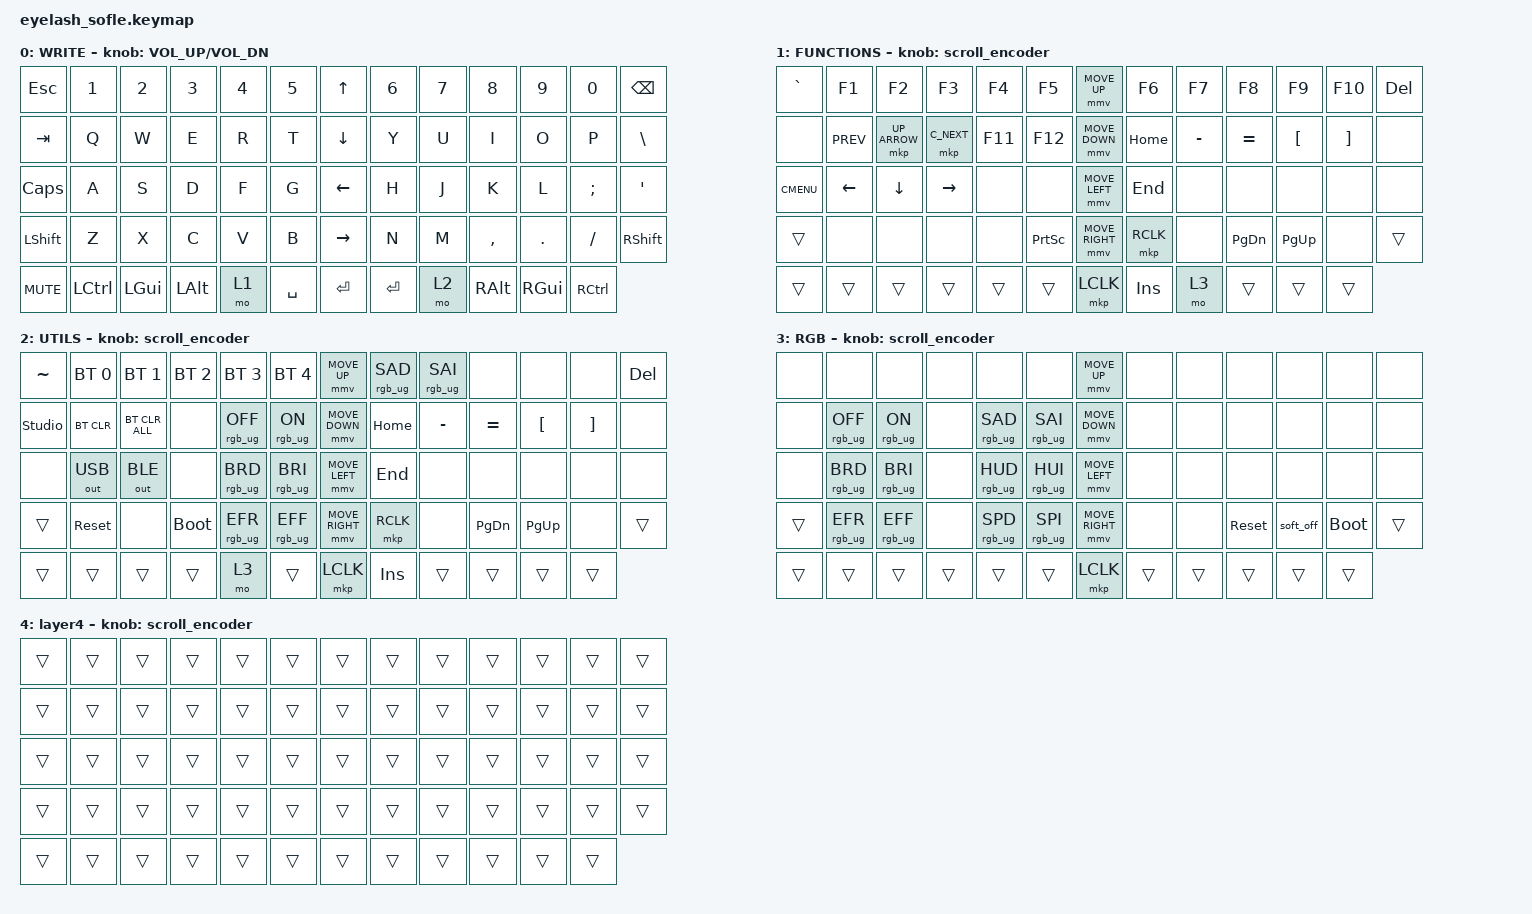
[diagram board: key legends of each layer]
#define ZMK_POINTING_DEFAULT_MOVE_VAL 1200  // 600
#define ZMK_POINTING_DEFAULT_SCRL_VAL 25   // 10

#include <input/processors.dtsi>
#include <zephyr/dt-bindings/input/input-event-codes.h>
#include <behaviors.dtsi>
#include <dt-bindings/zmk/bt.h>
#include <dt-bindings/zmk/keys.h>
#include <dt-bindings/zmk/outputs.h>
#include <dt-bindings/zmk/pointing.h>
#include <dt-bindings/zmk/rgb.h>

&mmv_input_listener { input-processors = <&zip_xy_scaler 2 1>; };

&msc_input_listener { input-processors = <&zip_scroll_scaler 2 1>; };

&msc {
    acceleration-exponent = <1>;      // 0
    time-to-max-speed-ms = <100>;       // 300
    delay-ms = <0>;                   // 0
};

&mmv {
    time-to-max-speed-ms = <500>;
    acceleration-exponent = <1>;
    trigger-period-ms = <16>;
};

&soft_off { hold-time-ms = <2000>; };

/ {
    scroll_encoder: scroll_encoder {
        compatible = "zmk,behavior-sensor-rotate";
        #sensor-binding-cells = <0>;
        bindings = <&msc SCRL_DOWN>, <&msc SCRL_UP>;

        tap-ms = <100>;
    };

    behaviors {
    };

    combos {
        compatible = "zmk,combos";

        softoff {
            bindings = <&soft_off>;
            key-positions = <14 28 40>;
        };
    };

    keymap {
        compatible = "zmk,keymap";

        layer0 {
            bindings = <
&kp ESC         &kp N1         &kp N2          &kp N3           &kp N4          &kp N5            &kp UP_ARROW           &kp N6           &kp N7         &kp N8         &kp N9           &kp N0          &kp BACKSPACE
&kp TAB         &kp Q          &kp W           &kp E            &kp R           &kp T             &kp DOWN_ARROW         &kp Y            &kp U          &kp I          &kp O            &kp P           &kp BSLH
&kp CAPS        &kp A          &kp S           &kp D            &kp F           &kp G             &kp LEFT_ARROW         &kp H            &kp J          &kp K          &kp L            &kp SEMI        &kp APOS
&kp LSHFT       &kp Z          &kp X           &kp C            &kp V           &kp B             &kp RIGHT_ARROW        &kp N            &kp M          &kp COMMA      &kp DOT          &kp FSLH        &kp RSHIFT
&kp C_MUTE      &kp LCTRL      &kp LEFT_GUI    &kp LEFT_ALT     &mo 1           &kp SPACE         &kp ENTER              &kp ENTER        &mo 2          &kp RALT       &kp RIGHT_GUI    &kp RCTRL
            >;

            sensor-bindings = <&inc_dec_kp C_VOLUME_UP C_VOL_DN>;
            display-name = "WRITE";
        };

        layer_1 {
            bindings = <
&kp GRAVE       &kp F1          &kp F2          &kp F3           &kp F4         &kp F5             &mmv MOVE_UP          &kp F6           &kp F7         &kp F8         &kp F9           &kp F10           &kp DEL
&none           &kp C_PREV      &mkp UP_ARROW   &mkp C_NEXT      &kp F11        &kp F12            &mmv MOVE_DOWN        &kp HOME         &kp MINUS      &kp EQUAL      &kp LEFT_BRACKET &kp RIGHT_BRACKET &none
&kp K_CMENU     &kp LEFT_ARROW  &kp DOWN_ARROW  &kp RIGHT_ARROW  &none          &none              &mmv MOVE_LEFT        &kp END          &none          &none          &none            &none             &none
&trans          &none           &none           &none            &none          &kp PSCRN          &mmv MOVE_RIGHT       &mkp RCLK        &none          &kp PG_DN      &kp PG_UP        &none             &trans
&trans          &trans          &trans          &trans           &trans         &trans             &mkp LCLK             &kp INS          &mo 3          &trans         &trans           &trans
            >;

            display-name = "FUNCTIONS";
            sensor-bindings = <&scroll_encoder>;
        };

        layer_2 {
            bindings = <
&kp TILDE       &bt BT_SEL 0    &bt BT_SEL 1    &bt BT_SEL 2    &bt BT_SEL 3    &bt BT_SEL 4       &mmv MOVE_UP          &rgb_ug RGB_SAD  &rgb_ug RGB_SAI &none         &none            &none             &kp DEL
&studio_unlock  &bt BT_CLR      &bt BT_CLR_ALL  &none           &rgb_ug RGB_OFF &rgb_ug RGB_ON     &mmv MOVE_DOWN        &kp HOME         &kp MINUS      &kp EQUAL      &kp LEFT_BRACKET &kp RIGHT_BRACKET &none
&none           &out OUT_USB    &out OUT_BLE    &none           &rgb_ug RGB_BRD &rgb_ug RGB_BRI    &mmv MOVE_LEFT        &kp END          &none          &none          &none            &none             &none
&trans          &sys_reset      &none           &bootloader     &rgb_ug RGB_EFR &rgb_ug RGB_EFF    &mmv MOVE_RIGHT       &mkp RCLK        &none          &kp PG_DN      &kp PG_UP        &none             &trans
&trans          &trans          &trans          &trans          &mo 3           &trans             &mkp LCLK             &kp INS          &trans         &trans         &trans           &trans
            >;

            display-name = "UTILS";
            sensor-bindings = <&scroll_encoder>;
        };

        layer_3 {
            bindings = <
&none          &none           &none           &none          &none             &none              &mmv MOVE_UP          &none           &none           &none          &none            &none           &none
&none          &rgb_ug RGB_OFF &rgb_ug RGB_ON  &none          &rgb_ug RGB_SAD   &rgb_ug RGB_SAI    &mmv MOVE_DOWN        &none           &none           &none          &none            &none           &none
&none          &rgb_ug RGB_BRD &rgb_ug RGB_BRI &none          &rgb_ug RGB_HUD   &rgb_ug RGB_HUI    &mmv MOVE_LEFT        &none           &none           &none          &none            &none           &none
&trans         &rgb_ug RGB_EFR &rgb_ug RGB_EFF &none          &rgb_ug RGB_SPD   &rgb_ug RGB_SPI    &mmv MOVE_RIGHT       &none           &none           &sys_reset     &soft_off        &bootloader     &trans
&trans         &trans          &trans          &trans         &trans            &trans             &mkp LCLK             &trans          &trans          &trans         &trans           &trans
            >;

            display-name = "RGB";
            sensor-bindings = <&scroll_encoder>;
        };

        layer_4 {
            bindings = <
&trans  &trans  &trans  &trans  &trans  &trans    &trans  &trans  &trans  &trans  &trans  &trans  &trans
&trans  &trans  &trans  &trans  &trans  &trans    &trans  &trans  &trans  &trans  &trans  &trans  &trans
&trans  &trans  &trans  &trans  &trans  &trans    &trans  &trans  &trans  &trans  &trans  &trans  &trans
&trans  &trans  &trans  &trans  &trans  &trans    &trans  &trans  &trans  &trans  &trans  &trans  &trans
&trans  &trans  &trans  &trans  &trans  &trans    &trans  &trans  &trans  &trans  &trans  &trans
            >;
         display-name = "layer4";
            sensor-bindings = <&scroll_encoder>;
        };
    };
};
